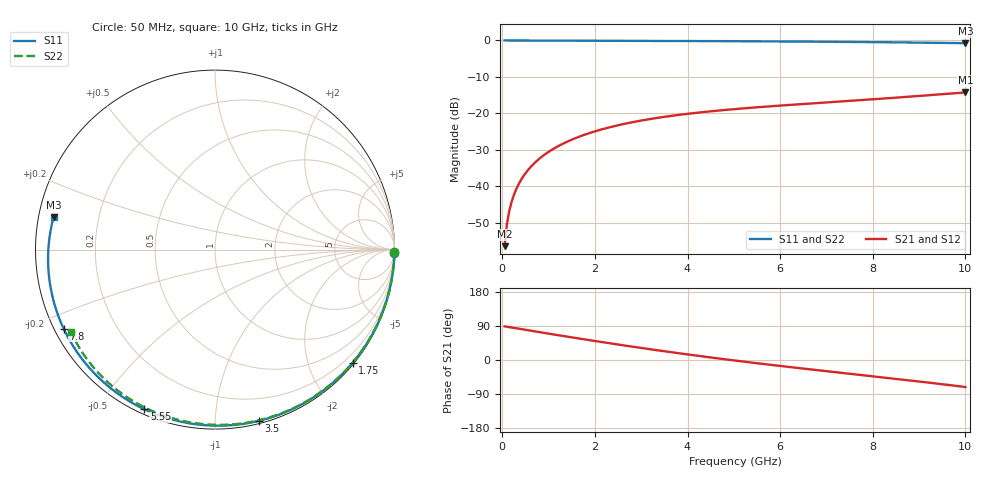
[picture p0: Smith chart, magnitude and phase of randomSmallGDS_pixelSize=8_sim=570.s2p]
! freq	dB(S11)	phase(S11)	dB(S12)	phase(S12)
!  dB(S21)	phase(S21)	dB(S22)	phase(S22)
!S-par simulation data
#  GHz  S  DB  R 50
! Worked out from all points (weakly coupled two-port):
!   200 points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, 50 MHz to 10 GHz, reference 50 ohm
!   highest |S21| = -14.25 dB at 10 GHz (marker M1); lowest = -56.4 dB at 50 MHz (marker M2)
!   lowest |S11| = -0.7 dB at 10 GHz (marker M3), VSWR 23.23, Z = 2.17 + j4.93 ohm
!   |S11| at or under -10 dB: nowhere
!   |S22| runs from -0.7 to 0.0 dB; largest |S21 - S12| = 0
!   S11 on the Smith chart (normalised r, x): 50 MHz: 0, -99; 1.75 GHz: 0.03, -2.80; 3.5 GHz: 0.02, -1.29; 5.55 GHz: 0.02, -0.65; 7.8 GHz: 0.03, -0.24; 10 GHz: 0.04, +0.10
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0.05  -0.00 -1.2  -56.38 88.8  -56.38 88.8  -0.00 -0.9
0.1  -0.00 -2.3  -50.34 87.6  -50.34 87.6  -0.00 -1.8
0.15  -0.00 -3.5  -46.79 86.7  -46.79 86.7  -0.00 -2.7
0.2  -0.01 -4.6  -44.29 85.8  -44.29 85.8  -0.01 -3.6
0.25  -0.01 -5.7  -42.36 84.8  -42.36 84.8  -0.01 -4.4
0.35  -0.01 -8.0  -39.47 82.8  -39.47 82.8  -0.01 -6.2
0.5  -0.02 -11.4  -36.41 79.7  -36.41 79.7  -0.01 -8.9
0.7  -0.02 -16.0  -33.54 75.6  -33.54 75.6  -0.02 -12.4
1  -0.03 -22.7  -30.53 69.5  -30.53 69.5  -0.03 -17.6
1.35  -0.05 -30.6  -28.05 62.6  -28.05 62.6  -0.04 -23.7
1.75  -0.06 -39.3  -25.96 54.9  -25.96 54.9  -0.05 -30.6
2.6  -0.09 -57.5  -22.96 39.0  -22.96 39.0  -0.08 -44.9
3.4  -0.13 -73.7  -21.12 24.8  -21.12 24.8  -0.11 -57.9
3.5  -0.13 -75.7  -20.93 23.1  -20.93 23.1  -0.11 -59.4
4.25  -0.17 -90.2  -19.75 10.6  -19.75 10.6  -0.14 -71.1
5.05  -0.21 -104.9  -18.78 -1.8  -18.78 -1.8  -0.18 -83.1
5.55  -0.24 -113.9  -18.27 -9.2  -18.27 -9.2  -0.21 -90.4
6.7  -0.33 -133.8  -17.24 -25.4  -17.24 -25.4  -0.28 -106.5
7.8  -0.43 -152.5  -16.30 -40.3  -16.30 -40.3  -0.38 -121.2
8.35  -0.50 -161.9  -15.82 -47.7  -15.82 -47.7  -0.44 -128.5
9.2  -0.62 -176.7  -15.02 -59.6  -15.02 -59.6  -0.55 -139.6
10  -0.75 168.7  -14.25 -71.3  -14.25 -71.3  -0.68 -150.1
